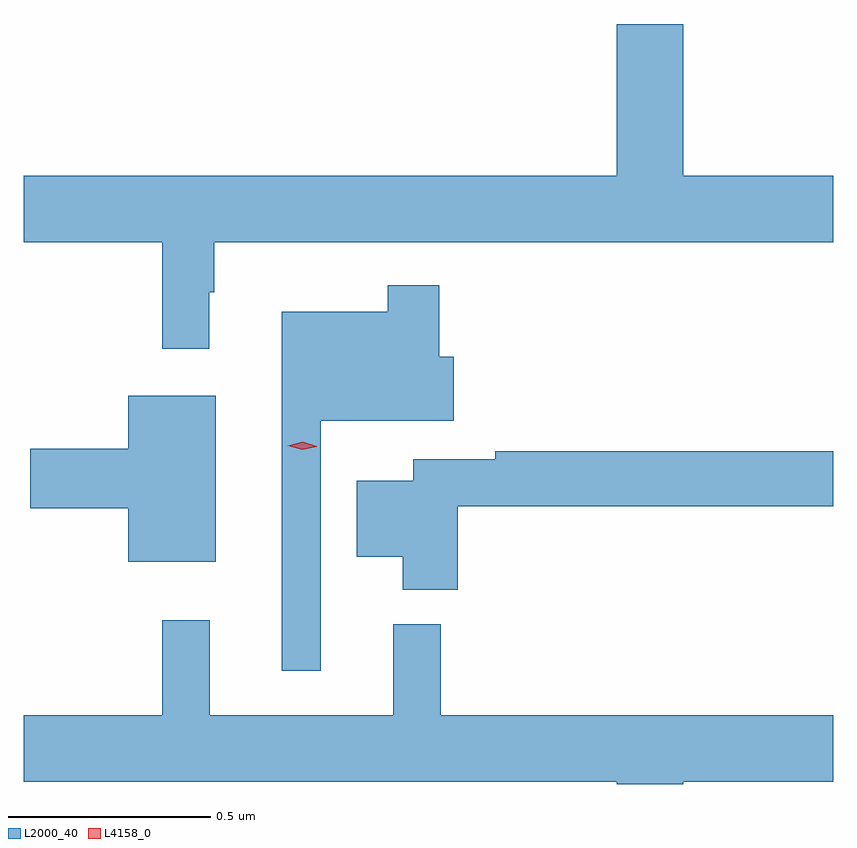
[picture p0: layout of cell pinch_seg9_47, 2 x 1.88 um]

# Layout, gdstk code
import gdstk
lib = gdstk.Library(unit=1e-6, precision=1e-09)
def P(c, l, *ps):  # polygons
    for p in ps: c.add(gdstk.Polygon(p, *l))
L2000_40 = (2000, 40)
L4158_0 = (4158, 0)

pinch_seg9_47 = lib.new_cell('pinch_seg9_47')
P(pinch_seg9_47, L2000_40, [(979.186,1228.265),(979.198,1228.265),(979.198,1228.388),(980.727,1228.388),(980.727,1228.552),(980.356,1228.552),(980.356,1228.927),(980.192,1228.927),(980.192,1228.552),(978.727,1228.552),(978.727,1228.388),(979.069,1228.388),(979.069,1228.125),(979.186,1228.125)],
  [(979.461,1227.947),(979.789,1227.947),(979.789,1228.105),(979.754,1228.105),(979.754,1228.282),(979.626,1228.282),(979.626,1228.216),(979.364,1228.216),(979.364,1227.33),(979.461,1227.33)],
  [(979.201,1228.009),(978.986,1228.009),(978.986,1227.878),(978.744,1227.878),(978.744,1227.731),(978.986,1227.731),(978.986,1227.599),(979.201,1227.599)],
  [(979.799,1227.736),(980.727,1227.736),(980.727,1227.872),(979.892,1227.872),(979.892,1227.852),(979.689,1227.852),(979.689,1227.799),(979.55,1227.799),(979.55,1227.611),(979.664,1227.611),(979.664,1227.53),(979.799,1227.53)],
  [(980.356,1227.056),(980.727,1227.056),(980.727,1227.22),(979.757,1227.22),(979.757,1227.445),(979.64,1227.445),(979.64,1227.22),(979.187,1227.22),(979.187,1227.454),(979.069,1227.454),(979.069,1227.22),(978.727,1227.22),(978.727,1227.056),(980.192,1227.056),(980.192,1227.05),(980.356,1227.05)])
P(pinch_seg9_47, L4158_0, [(979.415,1227.875),(979.38,1227.886),(979.379,1227.886),(979.38,1227.886),(979.416,1227.895),(979.451,1227.884),(979.451,1227.884),(979.451,1227.883)])

lib.write_gds('pinch_seg9_47.gds')
